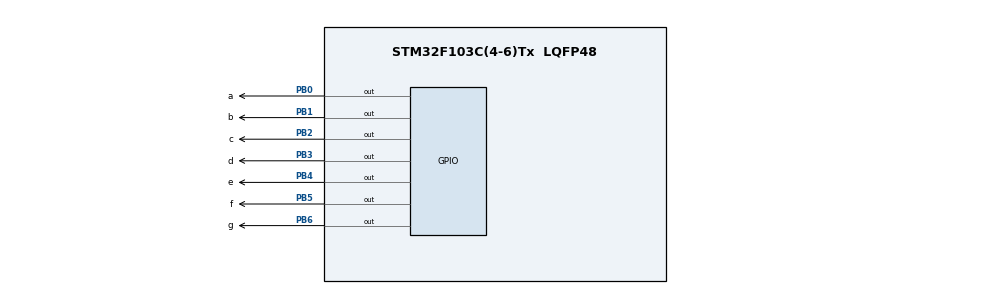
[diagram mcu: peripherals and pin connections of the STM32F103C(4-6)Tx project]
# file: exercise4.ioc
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Mcu.Family=STM32F1
Mcu.Name=STM32F103C(4-6)Tx
Mcu.Package=LQFP48
NVIC.PriorityGroup=NVIC_PRIORITYGROUP_4
PB0.GPIO_Label=a
PB0.Signal=GPIO_Output
PB1.GPIO_Label=b
PB1.Signal=GPIO_Output
PB2.GPIO_Label=c
PB2.Signal=GPIO_Output
PB3.GPIO_Label=d
PB3.Signal=GPIO_Output
PB4.GPIO_Label=e
PB4.Signal=GPIO_Output
PB5.GPIO_Label=f
PB5.Signal=GPIO_Output
PB6.GPIO_Label=g
PB6.Signal=GPIO_Output
ProjectManager.HeapSize=0x200
ProjectManager.StackSize=0x400
ProjectManager.TargetToolchain=STM32CubeIDE
RCC.APB1Freq_Value=8000000
RCC.APB2Freq_Value=8000000
board=custom

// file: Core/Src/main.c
/* USER CODE BEGIN Header */
/**
  ******************************************************************************
  * @file           : main.c
  * @brief          : Main program body
  ******************************************************************************
  * @attention
  *
  * Copyright (c) 2022 STMicroelectronics.
  * All rights reserved.
  *
  * This software is licensed under terms that can be found in the LICENSE file
  * in the root directory of this software component.
  * If no LICENSE file comes with this software, it is provided AS-IS.
  *
  ******************************************************************************
  */
/* USER CODE END Header */
#include "main.h"

void SystemClock_Config(void);
static void MX_GPIO_Init(void);

int main(void)
{

  /* MCU Configuration--------------------------------------------------------*/

  /* Reset of all peripherals, Initializes the Flash interface and the Systick. */
  HAL_Init();

  /* Configure the system clock */
  SystemClock_Config();

  /* Initialize all configured peripherals */
  MX_GPIO_Init();
  /* USER CODE BEGIN 2 */
  void display7SEG(int num){
	  switch(num){
	  case 0:
		  HAL_GPIO_WritePin(GPIOB, GPIO_PIN_6, 0);
		  HAL_GPIO_WritePin(GPIOB, GPIO_PIN_5, 0);
		  HAL_GPIO_WritePin(GPIOB, GPIO_PIN_4, 0);
		  HAL_GPIO_WritePin(GPIOB, GPIO_PIN_3, 0);
		  HAL_GPIO_WritePin(GPIOB, GPIO_PIN_2, 0);
		  HAL_GPIO_WritePin(GPIOB, GPIO_PIN_1, 0);
		  HAL_GPIO_WritePin(GPIOB, GPIO_PIN_0, 1);
		  break;
	  case 1:
	  		  HAL_GPIO_WritePin(GPIOB, GPIO_PIN_6, 1);
	  		  HAL_GPIO_WritePin(GPIOB, GPIO_PIN_5, 0);
	  		  HAL_GPIO_WritePin(GPIOB, GPIO_PIN_4, 0);
	  		  HAL_GPIO_WritePin(GPIOB, GPIO_PIN_3, 1);
	  		  HAL_GPIO_WritePin(GPIOB, GPIO_PIN_2, 1);
	  		  HAL_GPIO_WritePin(GPIOB, GPIO_PIN_1, 1);
	  		  HAL_GPIO_WritePin(GPIOB, GPIO_PIN_0, 1);
	  		  break;
	  case 2:
	  		  HAL_GPIO_WritePin(GPIOB, GPIO_PIN_6, 0);
	  		  HAL_GPIO_WritePin(GPIOB, GPIO_PIN_5, 0);
	  		  HAL_GPIO_WritePin(GPIOB, GPIO_PIN_4, 1);
	  		  HAL_GPIO_WritePin(GPIOB, GPIO_PIN_3, 0);
	  		  HAL_GPIO_WritePin(GPIOB, GPIO_PIN_2, 0);
	  		  HAL_GPIO_WritePin(GPIOB, GPIO_PIN_1, 1);
	  		  HAL_GPIO_WritePin(GPIOB, GPIO_PIN_0, 0);
	  		  break;
	  case 3:
	  		  HAL_GPIO_WritePin(GPIOB, GPIO_PIN_6, 0);
	  		  HAL_GPIO_WritePin(GPIOB, GPIO_PIN_5, 0);
	  		  HAL_GPIO_WritePin(GPIOB, GPIO_PIN_4, 0);
	  		  HAL_GPIO_WritePin(GPIOB, GPIO_PIN_3, 0);
	  		  HAL_GPIO_WritePin(GPIOB, GPIO_PIN_2, 1);
	  		  HAL_GPIO_WritePin(GPIOB, GPIO_PIN_1, 1);
	  		  HAL_GPIO_WritePin(GPIOB, GPIO_PIN_0, 0);
	  		  break;
	  case 4:
	  		  HAL_GPIO_WritePin(GPIOB, GPIO_PIN_6, 1);
	  		  HAL_GPIO_WritePin(GPIOB, GPIO_PIN_5, 0);
	  		  HAL_GPIO_WritePin(GPIOB, GPIO_PIN_4, 0);
	  		  HAL_GPIO_WritePin(GPIOB, GPIO_PIN_3, 1);
	  		  HAL_GPIO_WritePin(GPIOB, GPIO_PIN_2, 1);
	  		  HAL_GPIO_WritePin(GPIOB, GPIO_PIN_1, 0);
	  		  HAL_GPIO_WritePin(GPIOB, GPIO_PIN_0, 0);
	  		  break;
	  case 5:
	  		  HAL_GPIO_WritePin(GPIOB, GPIO_PIN_6, 0);
	  		  HAL_GPIO_WritePin(GPIOB, GPIO_PIN_5, 1);
	  		  HAL_GPIO_WritePin(GPIOB, GPIO_PIN_4, 0);
	  		  HAL_GPIO_WritePin(GPIOB, GPIO_PIN_3, 0);
	  		  HAL_GPIO_WritePin(GPIOB, GPIO_PIN_2, 1);
	  		  HAL_GPIO_WritePin(GPIOB, GPIO_PIN_1, 0);
	  		  HAL_GPIO_WritePin(GPIOB, GPIO_PIN_0, 0);
	  		  break;
	  case 6:
	  		  HAL_GPIO_WritePin(GPIOB, GPIO_PIN_6, 0);
	  		  HAL_GPIO_WritePin(GPIOB, GPIO_PIN_5, 1);
	  		  HAL_GPIO_WritePin(GPIOB, GPIO_PIN_4, 0);
	  		  HAL_GPIO_WritePin(GPIOB, GPIO_PIN_3, 0);
	  		  HAL_GPIO_WritePin(GPIOB, GPIO_PIN_2, 0);
	  		  HAL_GPIO_WritePin(GPIOB, GPIO_PIN_1, 0);
	  		  HAL_GPIO_WritePin(GPIOB, GPIO_PIN_0, 0);
	  		  break;
	  case 7:
	  		  HAL_GPIO_WritePin(GPIOB, GPIO_PIN_6, 0);
	  		  HAL_GPIO_WritePin(GPIOB, GPIO_PIN_5, 0);
	  		  HAL_GPIO_WritePin(GPIOB, GPIO_PIN_4, 0);
	  		  HAL_GPIO_WritePin(GPIOB, GPIO_PIN_3, 1);
	  		  HAL_GPIO_WritePin(GPIOB, GPIO_PIN_2, 1);
	  		  HAL_GPIO_WritePin(GPIOB, GPIO_PIN_1, 1);
	  		  HAL_GPIO_WritePin(GPIOB, GPIO_PIN_0, 1);
	  		  break;
	  case 8:
	  		  HAL_GPIO_WritePin(GPIOB, GPIO_PIN_6, 0);
	  		  HAL_GPIO_WritePin(GPIOB, GPIO_PIN_5, 0);
	  		  HAL_GPIO_WritePin(GPIOB, GPIO_PIN_4, 0);
	  		  HAL_GPIO_WritePin(GPIOB, GPIO_PIN_3, 0);
	  		  HAL_GPIO_WritePin(GPIOB, GPIO_PIN_2, 0);
	  		  HAL_GPIO_WritePin(GPIOB, GPIO_PIN_1, 0);
	  		  HAL_GPIO_WritePin(GPIOB, GPIO_PIN_0, 0);
	  		  break;
	  case 9:
	  		  HAL_GPIO_WritePin(GPIOB, GPIO_PIN_6, 0);
	  		  HAL_GPIO_WritePin(GPIOB, GPIO_PIN_5, 0);
	  		  HAL_GPIO_WritePin(GPIOB, GPIO_PIN_4, 0);
	  		  HAL_GPIO_WritePin(GPIOB, GPIO_PIN_3, 0);
	  		  HAL_GPIO_WritePin(GPIOB, GPIO_PIN_2, 1);
	  		  HAL_GPIO_WritePin(GPIOB, GPIO_PIN_1, 0);
	  		  HAL_GPIO_WritePin(GPIOB, GPIO_PIN_0, 0);
	  		  break;
	  default:
		  HAL_GPIO_WritePin(GPIOB, GPIO_PIN_6, 1);
		  	  		  HAL_GPIO_WritePin(GPIOB, GPIO_PIN_5, 1);
		  	  		  HAL_GPIO_WritePin(GPIOB, GPIO_PIN_4, 1);
		  	  		  HAL_GPIO_WritePin(GPIOB, GPIO_PIN_3, 1);
		  	  		  HAL_GPIO_WritePin(GPIOB, GPIO_PIN_2, 1);
		  	  		  HAL_GPIO_WritePin(GPIOB, GPIO_PIN_1, 1);
		  	  		  HAL_GPIO_WritePin(GPIOB, GPIO_PIN_0, 1);
		  	  		  break;
	  }
  }

  /* USER CODE END 2 */

  /* Infinite loop */
  /* USER CODE BEGIN WHILE */
  int counter=9;
  while (1)
  {
    /* USER CODE END WHILE */
	  if(counter<0){
		  counter=9;
	  }
	  display7SEG(counter--);
	  HAL_Delay(1000);
  }
}

void SystemClock_Config(void)
{
  RCC_OscInitTypeDef RCC_OscInitStruct = {0};
  RCC_ClkInitTypeDef RCC_ClkInitStruct = {0};

  /** Initializes the RCC Oscillators according to the specified parameters
  * in the RCC_OscInitTypeDef structure.
  */
  RCC_OscInitStruct.OscillatorType = RCC_OSCILLATORTYPE_HSI;
  RCC_OscInitStruct.HSIState = RCC_HSI_ON;
  RCC_OscInitStruct.HSICalibrationValue = RCC_HSICALIBRATION_DEFAULT;
  RCC_OscInitStruct.PLL.PLLState = RCC_PLL_NONE;
  if (HAL_RCC_OscConfig(&RCC_OscInitStruct) != HAL_OK)
  {
    Error_Handler();
  }

  /** Initializes the CPU, AHB and APB buses clocks
  */
  RCC_ClkInitStruct.ClockType = RCC_CLOCKTYPE_HCLK|RCC_CLOCKTYPE_SYSCLK
                              |RCC_CLOCKTYPE_PCLK1|RCC_CLOCKTYPE_PCLK2;
  RCC_ClkInitStruct.SYSCLKSource = RCC_SYSCLKSOURCE_HSI;
  RCC_ClkInitStruct.AHBCLKDivider = RCC_SYSCLK_DIV1;
  RCC_ClkInitStruct.APB1CLKDivider = RCC_HCLK_DIV1;
  RCC_ClkInitStruct.APB2CLKDivider = RCC_HCLK_DIV1;

  if (HAL_RCC_ClockConfig(&RCC_ClkInitStruct, FLASH_LATENCY_0) != HAL_OK)
  {
    Error_Handler();
  }
}

static void MX_GPIO_Init(void)
{
  GPIO_InitTypeDef GPIO_InitStruct = {0};

  /* GPIO Ports Clock Enable */
  __HAL_RCC_GPIOB_CLK_ENABLE();

  /*Configure GPIO pin Output Level */
  HAL_GPIO_WritePin(GPIOB, a_Pin|b_Pin|c_Pin|d_Pin
                          |e_Pin|f_Pin|g_Pin, GPIO_PIN_RESET);

  /*Configure GPIO pins : a_Pin b_Pin c_Pin d_Pin
                           e_Pin f_Pin g_Pin */
  GPIO_InitStruct.Pin = a_Pin|b_Pin|c_Pin|d_Pin
                          |e_Pin|f_Pin|g_Pin;
  GPIO_InitStruct.Mode = GPIO_MODE_OUTPUT_PP;
  GPIO_InitStruct.Pull = GPIO_NOPULL;
  GPIO_InitStruct.Speed = GPIO_SPEED_FREQ_LOW;
  HAL_GPIO_Init(GPIOB, &GPIO_InitStruct);

}

void Error_Handler(void)
{
  __disable_irq();
  while (1)
  {
  }
}
